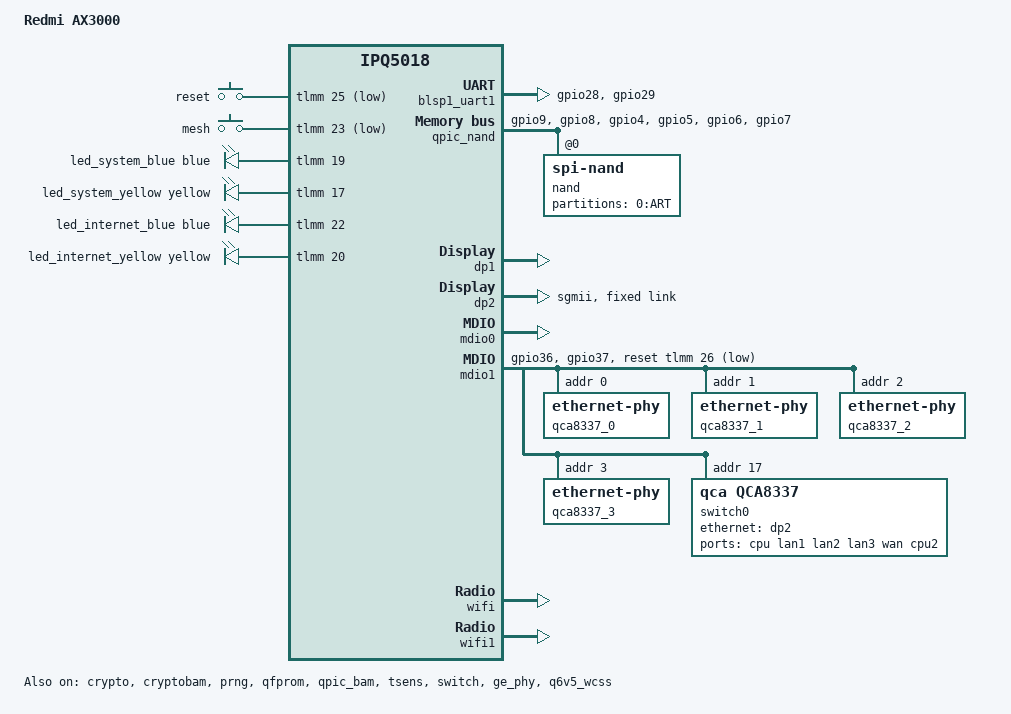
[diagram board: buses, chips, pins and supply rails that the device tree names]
// SPDX-License-Identifier: GPL-2.0-or-later OR MIT

/dts-v1/;

#include "ipq5018.dtsi"
#include "ipq5018-ess.dtsi"
#include "ipq5018-qcn6122.dtsi"

#include <dt-bindings/gpio/gpio.h>
#include <dt-bindings/input/input.h>
#include <dt-bindings/leds/common.h>

/ {
	model = "Redmi AX3000";
	compatible = "redmi,ax3000", "qcom,ipq5018";

	aliases {
		serial0 = &blsp1_uart1;

		ethernet0 = &dp1;
		ethernet1 = &dp2;

		led-boot = &led_system_blue;
		led-failsafe = &led_system_yellow;
		led-running = &led_system_blue;
		led-upgrade = &led_system_yellow;
	};

	chosen {
		// Override the root parameter from u-boot
		// Increase coherent_pool size for WiFi
		bootargs-append = " root=/dev/ubiblock0_1 coherent_pool=2M";
		stdout-path = "serial0:115200n8";
	};

	keys {
		compatible = "gpio-keys";
		pinctrl-0 = <&button_pins>;
		pinctrl-names = "default";

		button-reset {
			label = "reset";
			gpios = <&tlmm 25 GPIO_ACTIVE_LOW>;
			linux,input-type = <EV_KEY>;
			linux,code = <KEY_RESTART>;
			debounce-interval = <60>;
		};

		button-mesh {
			label = "mesh";
			gpios = <&tlmm 23 GPIO_ACTIVE_LOW>;
			linux,input-type = <EV_KEY>;
			linux,code = <KEY_WPS_BUTTON>;
			debounce-interval = <60>;
		};
	};

	leds {
		compatible = "gpio-leds";
		pinctrl-0 = <&leds_pins>;
		pinctrl-names = "default";

		led_system_blue: system-blue {
			color = <LED_COLOR_ID_BLUE>;
			function = LED_FUNCTION_STATUS;
			gpios = <&tlmm 19 GPIO_ACTIVE_HIGH>;
			default-state = "on";
		};

		led_system_yellow: system-yellow {
			color = <LED_COLOR_ID_YELLOW>;
			function = LED_FUNCTION_STATUS;
			gpios = <&tlmm 17 GPIO_ACTIVE_HIGH>;
		};

		led_internet_blue: internet-blue {
			color = <LED_COLOR_ID_BLUE>;
			function = LED_FUNCTION_WAN;
			gpios = <&tlmm 22 GPIO_ACTIVE_HIGH>;
		};

		led_internet_yellow: internet-yellow {
			color = <LED_COLOR_ID_YELLOW>;
			function = LED_FUNCTION_WAN;
			gpios = <&tlmm 20 GPIO_ACTIVE_HIGH>;
		};
	};
};

&sleep_clk {
	clock-frequency = <32000>;
};

&xo_board_clk {
	clock-frequency = <24000000>;
};

&tlmm {
	blsp_uart0_pins: uart0-state {
		pins =
			"gpio28", /* RX */
			"gpio29"; /* TX */
		function = "blsp0_uart1";
		drive-strength = <8>;
		bias-disable;
	};

	qspi_nand_pins: qspi-nand-state {
		clock-pins {
			pins = "gpio9";
			function = "qspi_clk";
			drive-strength = <8>;
			bias-disable;
		};

		cs-pins {
			pins = "gpio8";
			function = "qspi_cs";
			drive-strength = <8>;
			bias-disable;
		};

		data-pins {
			pins = "gpio4", "gpio5", "gpio6", "gpio7";
			function = "qspi_data";
			drive-strength = <8>;
			bias-disable;
		};
	};

	mdio1_pins: mdio-state {
		mdc-pins {
			pins = "gpio36";
			function = "mdc";
			drive-strength = <8>;
			bias-pull-up;
		};

		mdio-pins {
			pins = "gpio37";
			function = "mdio";
			drive-strength = <8>;
			bias-pull-up;
		};
	};

	leds_pins: leds-state {
		pins = "gpio17", "gpio19", "gpio20", "gpio22";
		function = "gpio";
		drive-strength = <8>;
		bias-pull-down;
	};

	button_pins: button-state {
		pins = "gpio23", "gpio25";
		function = "gpio";
		drive-strength = <8>;
		bias-pull-up;
	};
};

&blsp1_uart1 {
	pinctrl-0 = <&blsp_uart0_pins>;
	pinctrl-names = "default";
	status = "okay";
};

&crypto {
	status = "okay";
};

&cryptobam {
	status = "okay";
};

&prng {
	status = "okay";
};

&qfprom {
	status = "okay";
};

&qpic_bam {
	status = "okay";
};

&qpic_nand {
	pinctrl-0 = <&qspi_nand_pins>;
	pinctrl-names = "default";
	status = "okay";

	nand@0 {
		compatible = "spi-nand";
		reg = <0>;
		nand-ecc-engine = <&qpic_nand>;
		nand-bus-width = <8>;

		partitions {
			compatible = "qcom,smem-part";

			partition-art {
				label = "0:ART";
				read-only;
			};
		};
	};
};

&tsens {
	status = "okay";
};

&{/reserved-memory/tz_apps@4a400000} {
	// Not sure why but without this, WiFi will crash
	// The size is incorrect (default from ipq5018.dtsi is 4M), but it works
	reg = <0x0 0x4a400000 0x0 0x700000>;
};

&{/thermal-zones/gephy-thermal} {
	/*
	 * This inherited IPQ5018 zone reports a bogus critical reading on
	 * IPQ5000-based Redmi AX3000 early in boot and forces shutdown.
	 */
	status = "disabled";
};

&{/thermal-zones/top-glue-thermal} {
	/*
	 * This inherited IPQ5018 zone reports a bogus critical reading on
	 * IPQ5000-based Redmi AX3000 early in boot and forces shutdown.
	 */
	status = "disabled";
};

&switch {
	status = "okay";

	// mdio-bus = <&mdio0>;

	// switch_cpu_bmp = <ESS_PORT0>;
	// switch_lan_bmp = <(ESS_PORT1 | ESS_PORT2)>;
	switch_mac_mode = <MAC_MODE_SGMII_CHANNEL0>;

	qcom,port_phyinfo {
		// MAC0 -> GE Phy -> QCA8337 Phy4
		port@0 {
			port_id = <1>;
			mdiobus = <&mdio0>;
			phy_address = <7>;
			phy_dac = <0x10 0x10>;
			// status = "disabled";
		};

		// MAC1 ---SGMII---> QCA8337 SerDes
		port@1 {
			port_id = <2>;
			forced-speed = <1000>;
			forced-duplex = <1>;
		};
	};
};

// MAC0 -> GE Phy
&dp1 {
	/*
	 * ===============================================================
	 *     _______________________         _______________________
	 *    |        IPQ5018        |       |        QCA8337        |
	 *    | +------+   +--------+ |       | +--------+   +------+ |
	 *    | | MAC0 |---| GE Phy |-+--UTP--+-|  Phy4  |---| MAC5 | |
	 *    | +------+   +--------+ |       | +--------+   +------+ |
	 *    | +------+   +--------+ |       | +--------+   +------+ |
	 *    | | MAC1 |---| Uniphy |-+-SGMII-+-| SerDes |---| MAC0 | |
	 *    | +------+   +--------+ |       | +--------+   +------+ |
	 *    |_______________________|       |_______________________|
	 *
	 * ===============================================================
	 *
	 * Current drivers don't support such topology. So dp1 and ge_phy
	 * are useless. But they can't be disabled dut to qca-ssdk use
	 * ge_phy to detect IPQ5018 dummy switch.
	 */
	status = "okay";
};

// MAC1 ---SGMII---> QCA8337 SerDes
&dp2 {
	status = "okay";
	phy-mode = "sgmii";

	fixed-link {
		speed = <1000>;
		full-duplex;
	};
};

&mdio0 {
	status = "okay";
};

// IPQ5018 GE Phy -> QCA8337 Phy4
&ge_phy {
	status = "okay";
};

&mdio1 {
	pinctrl-0 = <&mdio1_pins>;
	pinctrl-names = "default";
	status = "okay";

	reset-gpios = <&tlmm 26 GPIO_ACTIVE_LOW>;

	// QCA8337 Phy0 -> LAN1
	qca8337_0: ethernet-phy@0 {
		reg = <0>;
	};

	// QCA8337 Phy1 -> LAN2
	qca8337_1: ethernet-phy@1 {
		reg = <1>;
	};

	// QCA8337 Phy2 -> LAN3
	qca8337_2: ethernet-phy@2 {
		reg = <2>;
	};

	// QCA8337 Phy3 -> WAN
	qca8337_3: ethernet-phy@3 {
		reg = <3>;
	};

	// QCA8337 Phy4 -> IPQ5018 GE Phy
	qca8337_4: ethernet-phy@4 {
		reg = <4>;
		status = "disabled";
	};

	switch0: ethernet-switch@17 {
		compatible = "qca,qca8337";
		reg = <17>;

		ports {
			#address-cells = <1>;
			#size-cells = <0>;

			switch0cpu: port@0 {
				reg = <0>;
				label = "cpu";
				phy-mode = "sgmii";
				ethernet = <&dp2>;
				qca,sgmii-enable-pll;

				fixed-link {
					speed = <1000>;
					full-duplex;
				};
			};

			port@1 {
				reg = <1>;
				label = "lan1";
				phy-handle = <&qca8337_0>;
			};

			port@2 {
				reg = <2>;
				label = "lan2";
				phy-handle = <&qca8337_1>;
			};

			port@3 {
				reg = <3>;
				label = "lan3";
				phy-handle = <&qca8337_2>;
			};

			port@4 {
				reg = <4>;
				label = "wan";
				phy-handle = <&qca8337_3>;
			};

			port@5 {
				reg = <5>;
				label = "cpu2";
				phy-handle = <&qca8337_4>;
				status = "disabled";
			};
		};
	};
};

&q6v5_wcss {
	boot-args = </*       type: */ 0x2 /* PCIE1 */
		     /*     length: */ 4
		     /*      PD id: */ 2
		     /* reset GPIO: */ 27
		     /*   reserved: */ 0 0>;

	status = "okay";
};

&wifi {
	// IPQ5000
	qcom,rproc = <&q6_wcss_pd1>;
	qcom,userpd-subsys-name = "q6v5_wcss_userpd1";

	// Be overridden by /etc/hotplug.d/firmware/10-ath11k-board_id
	// M79: 0x10
	// M81: 0x24
	qcom,board_id = <0x24>;

	// qcom,ath11k-fw-memory-mode = <0>;
	// qcom,bdf-addr = <0x4c400000>;
	// qcom,caldb-addr = <0x4d200000>;
	// qcom,m3-dump-addr = <0x4d400000>;

	qcom,ath11k-fw-memory-mode = <2>;
	qcom,bdf-addr = <0x4c400000>;

	status = "okay";
};

&wifi1 {
	// QCN6102
	qcom,rproc = <&q6_wcss_pd2>;
	qcom,userpd-subsys-name = "q6v5_wcss_userpd2";

	qcom,board_id = <0x60>;

	// qcom,ath11k-fw-memory-mode = <0>;
	// qcom,bdf-addr = <0x4d500000>;
	// qcom,caldb-addr = <0x4e500000>;
	// qcom,m3-dump-addr = <0x4ea00000>;

	qcom,ath11k-fw-memory-mode = <2>;
	qcom,bdf-addr = <0x4d100000>;
	qcom,m3-dump-addr = <0x4df00000>;

	status = "okay";
};
